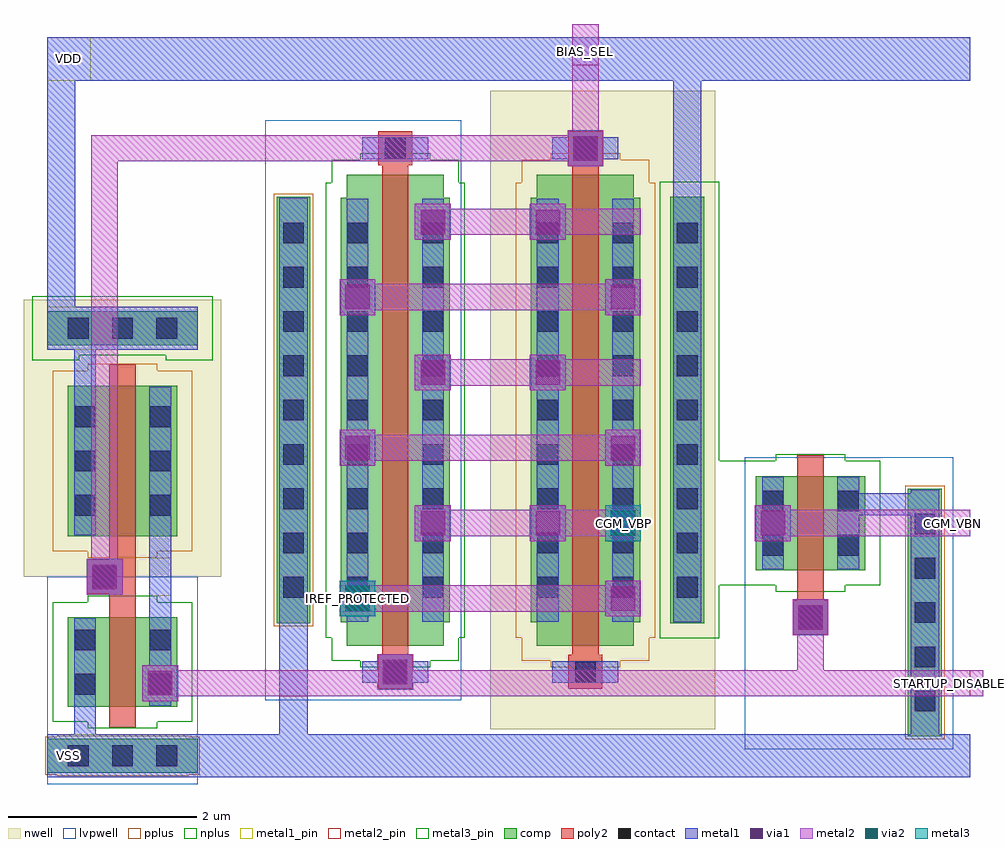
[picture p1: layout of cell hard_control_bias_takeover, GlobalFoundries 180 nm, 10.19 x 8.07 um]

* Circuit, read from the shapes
.subckt hard_control_bias_takeover BIAS_SEL CGM_VBN CGM_VBP IREF_PROTECTED STARTUP_DISABLE VDD VSS
XM1 STARTUP_DISABLE BIAS_SEL VSS VSS nfet_03v3 w=0.95u l=0.28u
XM2 CGM_VBP STARTUP_DISABLE IREF_PROTECTED VSS nfet_03v3 w=5u l=0.28u
XM3 VSS STARTUP_DISABLE CGM_VBN VSS nfet_03v3 w=1u l=0.28u
XM4 STARTUP_DISABLE BIAS_SEL VDD VDD pfet_03v3 w=1.6u l=0.28u
XM5 IREF_PROTECTED BIAS_SEL CGM_VBP VDD pfet_03v3 w=5u l=0.28u
.ends

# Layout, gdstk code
import gdstk
lib = gdstk.Library(unit=1e-6, precision=1e-09)
def R(c, l, rs):  # rectangles x0, y0, x1, y1
    for r in rs: c.add(gdstk.rectangle(r[:2], r[2:], *l))
def A(c, l, x, y, w, h, nx, ny, dx, dy):  # array of equal rectangles
    R(c, l, [(x+i*dx, y+j*dy, x+i*dx+w, y+j*dy+h) for i in range(nx) for j in range(ny)])
nwell = (21, 0)
comp = (22, 0)
poly2 = (30, 0)
pplus = (31, 0)
nplus = (32, 0)
contact = (33, 0)
metal1 = (34, 0)
metal1_pin = (34, 10)
via1 = (35, 0)
metal2 = (36, 0)
metal2_pin = (36, 10)
via2 = (38, 0)
metal3 = (42, 0)
metal3_pin = (42, 10)
lvpwell = (204, 0)

pfet_03v3_r46qmg = lib.new_cell('pfet_03v3_R46QMG')
R(pfet_03v3_r46qmg, nwell, [(-1.01,-3.39,1.01,3.39)])
R(pfet_03v3_r46qmg, comp, [(-0.515,-2.5,0.515,-2.255), (-0.58,-2.255,0.58,2.255), (-0.515,2.255,0.515,2.5)])
R(pfet_03v3_r46qmg, poly2, [(-0.18,-2.96,0.18,-2.6), (-0.14,-2.6,0.14,2.6), (-0.18,2.6,0.18,2.96)])
R(pfet_03v3_r46qmg, pplus, [(-0.37,-2.73,0.37,-2.66), (-0.675,-2.66,0.675,-2.415), (-0.74,-2.415,0.74,2.415), (-0.675,2.415,0.675,2.66), (-0.37,2.66,0.37,2.73)])
A(pfet_03v3_r46qmg, contact, -0.51, -1.99, 0.22, 0.22, 1, 9, 0, 0.47)
A(pfet_03v3_r46qmg, contact, 0.29, -1.99, 0.22, 0.22, 1, 9, 0, 0.47)
R(pfet_03v3_r46qmg, contact, [(-0.11,-2.89,0.11,-2.67), (-0.11,2.67,0.11,2.89)])
R(pfet_03v3_r46qmg, metal1, [(-0.17,-2.895,0.17,-2.665), (-0.515,-2.245,-0.285,2.245), (0.285,-2.245,0.515,2.245), (-0.17,2.665,0.17,2.895)])

nfet_03v3_lg6zj2 = lib.new_cell('nfet_03v3_LG6ZJ2')
R(nfet_03v3_lg6zj2, comp, [(-0.515,-2.5,0.515,-2.255), (-0.58,-2.255,0.58,2.255), (-0.515,2.255,0.515,2.5)])
R(nfet_03v3_lg6zj2, poly2, [(-0.18,-2.96,0.18,-2.6), (-0.14,-2.6,0.14,2.6), (-0.18,2.6,0.18,2.96)])
R(nfet_03v3_lg6zj2, nplus, [(-0.37,-2.73,0.37,-2.66), (-0.675,-2.66,0.675,-2.415), (-0.74,-2.415,0.74,2.415), (-0.675,2.415,0.675,2.66), (-0.37,2.66,0.37,2.73)])
A(nfet_03v3_lg6zj2, contact, -0.51, -1.99, 0.22, 0.22, 1, 9, 0, 0.47)
A(nfet_03v3_lg6zj2, contact, 0.29, -1.99, 0.22, 0.22, 1, 9, 0, 0.47)
R(nfet_03v3_lg6zj2, contact, [(-0.11,-2.89,0.11,-2.67), (-0.11,2.67,0.11,2.89)])
R(nfet_03v3_lg6zj2, metal1, [(-0.17,-2.895,0.17,-2.665), (-0.515,-2.245,-0.285,2.245), (0.285,-2.245,0.515,2.245), (-0.17,2.665,0.17,2.895)])
R(nfet_03v3_lg6zj2, lvpwell, [(-0.7,-3.08,0.7,3.08)])

switch_tg_analog_nf01 = lib.new_cell('switch_tg_analog_nf01')
R(switch_tg_analog_nf01, nwell, [(2.505,-3.39,4.895,3.39)])
R(switch_tg_analog_nf01, comp, [(0.235,-2.265,0.595,2.265), (4.415,-2.265,4.775,2.265)])
R(switch_tg_analog_nf01, pplus, [(0.205,-2.295,0.625,2.295)])
R(switch_tg_analog_nf01, nplus, [(4.305,-2.425,4.935,2.425)])
A(switch_tg_analog_nf01, contact, 0.305, -1.99, 0.22, 0.22, 1, 9, 0, 0.47)
A(switch_tg_analog_nf01, contact, 4.485, -1.99, 0.22, 0.22, 1, 9, 0, 0.47)
A(switch_tg_analog_nf01, metal1, 0.905, -2.19, 0.38, 0.38, 1, 3, 0, 1.6)
A(switch_tg_analog_nf01, metal1, 3.725, -2.19, 0.38, 0.38, 1, 3, 0, 1.6)
A(switch_tg_analog_nf01, metal1, 1.705, -1.39, 0.38, 0.38, 1, 3, 0, 1.6)
A(switch_tg_analog_nf01, metal1, 2.925, -1.39, 0.38, 0.38, 1, 3, 0, 1.6)
R(switch_tg_analog_nf01, metal1, [(1.145,-2.895,1.845,-2.665), (3.165,-2.895,3.865,-2.665), (0.265,-2.255,0.565,2.255), (4.445,-2.255,4.745,2.255), (1.145,2.665,1.845,2.895), (3.165,2.665,3.865,2.895)])
R(switch_tg_analog_nf01, metal1_pin, [(0.265,-0.5,0.565,0.5), (4.445,-0.5,4.745,0.5), (1.145,2.665,1.845,2.895), (3.165,2.665,3.865,2.895)])
A(switch_tg_analog_nf01, via1, 0.965, -2.13, 0.26, 0.26, 1, 3, 0, 1.6)
A(switch_tg_analog_nf01, via1, 3.785, -2.13, 0.26, 0.26, 1, 3, 0, 1.6)
A(switch_tg_analog_nf01, via1, 1.765, -1.33, 0.26, 0.26, 1, 3, 0, 1.6)
A(switch_tg_analog_nf01, via1, 2.985, -1.33, 0.26, 0.26, 1, 3, 0, 1.6)
A(switch_tg_analog_nf01, metal2, 0.905, -2.14, 3.2, 0.28, 1, 3, 0, 1.6)
A(switch_tg_analog_nf01, metal2, 1.705, -1.34, 2.4, 0.28, 1, 3, 0, 1.6)
R(switch_tg_analog_nf01, metal2, [(0.905,-2.19,1.285,-2.14), (3.725,-2.19,4.105,-2.14), (0.905,-1.86,1.285,-1.81), (3.725,-1.86,4.105,-1.81), (1.705,-1.39,2.085,-1.34), (2.925,-1.39,3.305,-1.34), (1.705,-1.06,2.085,-1.01), (2.925,-1.06,3.305,-1.01), (0.905,-0.59,1.285,-0.54), (3.725,-0.59,4.105,-0.54), (0.905,-0.26,1.285,-0.21), (3.725,-0.26,4.105,-0.21), (1.705,0.21,2.085,0.26), (2.925,0.21,3.305,0.26), (1.705,0.54,2.085,0.59), (2.925,0.54,3.305,0.59), (0.905,1.01,1.285,1.06), (3.725,1.01,4.105,1.06), (0.905,1.34,1.285,1.39), (3.725,1.34,4.105,1.39), (1.705,1.81,2.085,1.86), (2.925,1.81,3.305,1.86), (1.705,2.14,2.085,2.19), (2.925,2.14,3.305,2.19)])
R(switch_tg_analog_nf01, metal2_pin, [(0.905,-2.14,1.285,-1.86), (3.725,-1.34,4.105,-1.06)])
R(switch_tg_analog_nf01, lvpwell, [(0.115,-3.08,2.195,3.08)])
switch_tg_analog_nf01.add(gdstk.Reference(pfet_03v3_r46qmg, (3.515,0)))
switch_tg_analog_nf01.add(gdstk.Reference(nfet_03v3_lg6zj2, (1.495,0)))
switch_tg_analog_nf01.add(gdstk.Label('G', (1.495,2.78), layer=34, texttype=10))
switch_tg_analog_nf01.add(gdstk.Label('GB', (3.515,2.78), layer=34, texttype=10))
switch_tg_analog_nf01.add(gdstk.Label('VSS', (0.415,0), layer=34, texttype=10))
switch_tg_analog_nf01.add(gdstk.Label('VDD', (4.595,0), layer=34, texttype=10))
switch_tg_analog_nf01.add(gdstk.Label('A', (1.095,-2), layer=36, texttype=10))
switch_tg_analog_nf01.add(gdstk.Label('B', (3.915,-1.2), layer=36, texttype=10))

logic_inverter_1x = lib.new_cell('logic_inverter_1x')
R(logic_inverter_1x, nwell, [(-0.25,2.13,1.85,5.07)])
R(logic_inverter_1x, comp, [(0,0.05,1.6,0.41), (0.22,0.75,1.38,1.7), (0.22,2.56,1.38,4.16), (0,4.59,1.6,4.95)])
R(logic_inverter_1x, poly2, [(0.66,0.53,0.94,1.95), (0.42,1.95,0.94,2.31), (0.66,2.31,0.94,4.38)])
R(logic_inverter_1x, pplus, [(0.105,0.02,1.495,0.03), (-0.02,0.03,1.62,0.43), (0.105,0.43,1.495,0.44), (0.43,2.33,1.17,2.4), (0.06,2.4,1.54,4.32), (0.43,4.32,1.17,4.39)])
R(logic_inverter_1x, nplus, [(0.43,0.52,1.17,0.59), (0.06,0.59,1.54,1.86), (0.43,1.86,1.17,1.93), (-0.16,4.43,0.34,4.48), (1.26,4.43,1.76,4.48), (-0.16,4.48,1.76,5.11)])
A(logic_inverter_1x, contact, 0.22, 0.12, 0.22, 0.22, 3, 2, 0.47, 4.54)
A(logic_inverter_1x, contact, 0.29, 2.78, 0.22, 0.22, 1, 3, 0, 0.47)
A(logic_inverter_1x, contact, 1.09, 2.78, 0.22, 0.22, 1, 3, 0, 0.47)
R(logic_inverter_1x, contact, [(0.29,0.88,0.51,1.1), (1.09,0.88,1.31,1.1), (0.29,1.35,0.51,1.57), (1.09,1.35,1.31,1.57), (0.49,2.02,0.71,2.24)])
R(logic_inverter_1x, metal1, [(0,0,1.6,0.46), (0.285,0.46,0.515,1.69), (1.085,0.76,1.315,4.15), (0.42,1.94,0.8,2.32), (0.285,2.57,0.515,4.54), (0,4.54,1.6,5)])
R(logic_inverter_1x, metal1_pin, [(0,0,1.6,0.46), (1.085,1.93,1.315,2.33), (0.42,1.94,0.8,2.32), (0,4.54,1.6,5)])
R(logic_inverter_1x, lvpwell, [(0,-0.07,1.6,2.13)])
logic_inverter_1x.add(gdstk.Label('IN', (0.61,2.13), layer=34, texttype=10))
logic_inverter_1x.add(gdstk.Label('OUT', (1.2,2.13), layer=34, texttype=10))
logic_inverter_1x.add(gdstk.Label('VDD', (0.8,4.77), layer=34, texttype=10))
logic_inverter_1x.add(gdstk.Label('VSS', (0.8,0.23), layer=34, texttype=10))

hard_control_bias_takeov = lib.new_cell('hard_control_bias_takeover')
R(hard_control_bias_takeov, comp, [(9.14,0.435,9.5,3.065), (7.525,2.2,8.685,3.2)])
R(hard_control_bias_takeov, poly2, [(7.925,1.52,8.285,1.88), (7.965,1.88,8.245,3.42)])
R(hard_control_bias_takeov, pplus, [(9.11,0.405,9.53,3.095)])
R(hard_control_bias_takeov, nplus, [(7.735,1.97,8.475,2.04), (7.135,2.04,8.845,3.36), (7.735,3.36,8.475,3.43)])
A(hard_control_bias_takeov, contact, 9.21, 0.7, 0.22, 0.22, 1, 5, 0, 0.47)
R(hard_control_bias_takeov, contact, [(7.995,1.59,8.215,1.81), (7.595,2.355,7.815,2.575), (8.395,2.355,8.615,2.575), (7.595,2.825,7.815,3.045), (8.395,2.825,8.615,3.045)])
R(hard_control_bias_takeov, metal1, [(0,0,9.8,0.46), (2.465,0.46,2.765,1.9), (9.17,0.46,9.47,2.785), (1.01,0.81,1.39,1.19), (3.505,0.93,3.885,1.31), (7.915,1.51,8.295,1.89), (0.42,1.94,0.8,2.32), (7.59,2.21,7.82,2.51), (8.39,2.21,8.62,2.785), (7.515,2.51,7.895,2.89), (8.39,2.785,9.47,3.015), (7.59,2.89,7.82,3.19), (8.39,3.015,8.62,3.19), (9.17,3.015,9.47,3.055), (0,4.54,0.3,7.4), (6.645,5.9,6.945,7.4), (5.525,6.49,5.905,6.87), (0,7.4,9.8,7.86)])
R(hard_control_bias_takeov, metal1_pin, [(0,0,0.46,0.46), (0,7.4,0.46,7.86)])
R(hard_control_bias_takeov, via1, [(1.07,0.87,1.33,1.13), (3.565,0.99,3.825,1.25), (7.975,1.57,8.235,1.83), (0.48,2,0.74,2.26), (7.575,2.57,7.835,2.83), (5.585,6.55,5.845,6.81)])
R(hard_control_bias_takeov, metal2, [(1.01,0.81,1.39,0.86), (1.01,0.86,9.94,1.14), (1.01,1.14,1.39,1.19), (3.505,1.14,3.885,1.31), (7.965,1.14,8.245,1.51), (7.915,1.51,8.295,1.89), (3.105,1.71,3.485,2.09), (0.42,1.94,0.8,2.32), (0.47,2.32,0.75,6.54), (5.925,2.51,6.305,2.89), (7.515,2.51,7.895,2.56), (7.515,2.56,9.8,2.84), (7.515,2.84,7.895,2.89), (5.525,6.49,5.905,6.54), (0.47,6.54,5.905,6.82), (5.525,6.82,5.905,6.87), (5.575,6.87,5.855,8)])
R(hard_control_bias_takeov, metal2_pin, [(9.42,0.86,9.8,1.14), (9.42,2.56,9.8,2.84), (5.575,7.56,5.855,7.86)])
R(hard_control_bias_takeov, via2, [(3.165,1.77,3.425,2.03), (5.985,2.57,6.245,2.83)])
R(hard_control_bias_takeov, metal3, [(3.105,1.71,3.485,2.09), (5.925,2.51,6.305,2.89)])
R(hard_control_bias_takeov, metal3_pin, [(3.105,1.71,3.485,2.09), (5.925,2.51,6.305,2.89)])
R(hard_control_bias_takeov, lvpwell, [(7.405,0.3,9.62,3.4)])
hard_control_bias_takeov.add(gdstk.Reference(switch_tg_analog_nf01, (2.2,3.9)))
hard_control_bias_takeov.add(gdstk.Reference(logic_inverter_1x, (0,0)))
hard_control_bias_takeov.add(gdstk.Label('VSS', (0.23,0.23), layer=34, texttype=10))
hard_control_bias_takeov.add(gdstk.Label('VDD', (0.23,7.63), layer=34, texttype=10))
hard_control_bias_takeov.add(gdstk.Label('BIAS_SEL', (5.715,7.71), layer=36, texttype=10))
hard_control_bias_takeov.add(gdstk.Label('STARTUP_DISABLE', (9.61,1), layer=36, texttype=10))
hard_control_bias_takeov.add(gdstk.Label('CGM_VBN', (9.61,2.7), layer=36, texttype=10))
hard_control_bias_takeov.add(gdstk.Label('CGM_VBP', (6.115,2.7), layer=42, texttype=10))
hard_control_bias_takeov.add(gdstk.Label('IREF_PROTECTED', (3.295,1.9), layer=42, texttype=10))

lib.write_gds('hard_control_bias_takeover.gds')
